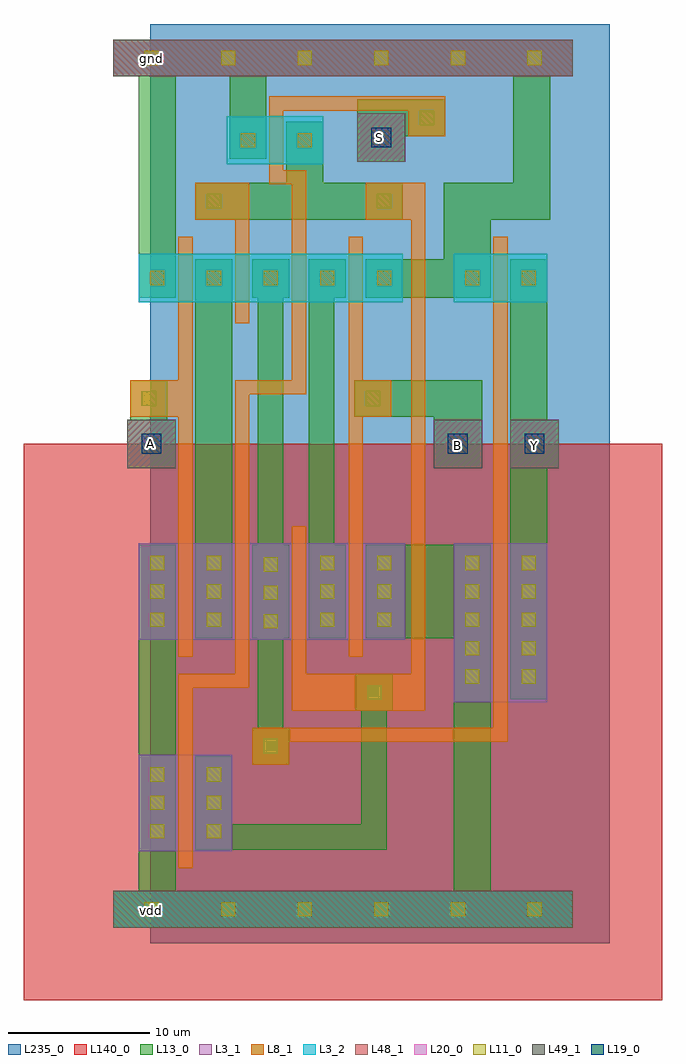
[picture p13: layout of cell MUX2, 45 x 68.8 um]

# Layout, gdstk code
import gdstk
lib = gdstk.Library(unit=1e-6, precision=1e-09)
def R(c, l, rs):  # rectangles x0, y0, x1, y1
    for r in rs: c.add(gdstk.rectangle(r[:2], r[2:], *l))
def A(c, l, x, y, w, h, nx, ny, dx, dy):  # array of equal rectangles
    R(c, l, [(x+i*dx, y+j*dy, x+i*dx+w, y+j*dy+h) for i in range(nx) for j in range(ny)])
def P(c, l, *ps):  # polygons
    for p in ps: c.add(gdstk.Polygon(p, *l))
L3_1 = (3, 1)
L3_2 = (3, 2)
L8_1 = (8, 1)
L11_0 = (11, 0)
L13_0 = (13, 0)
L19_0 = (19, 0)
L20_0 = (20, 0)
L48_1 = (48, 1)
L49_1 = (49, 1)
L140_0 = (140, 0)
L235_0 = (235, 0)

mux2 = lib.new_cell('MUX2')
R(mux2, L3_1, [(1.8,-58.3,8.4,-51.5), (24,-47.8,30.6,-36.6), (1.8,-43.4,20.6,-36.6), (0,-3.7,32.4,-1.1)])
R(mux2, L3_2, [(0,-63.7,32.4,-61.1), (1.8,-19.6,20.4,-16.2), (24,-19.6,30.6,-16.2), (8,-9.9,14.8,-6.5)])
P(mux2, L8_1, [(8.6,-21.1),(8.6,-13.8),(5.8,-13.8),(5.8,-11.2),(9.6,-11.2),(9.6,-21.1)],
  [(4.6,-44.6),(4.6,-27.7),(1.2,-27.7),(1.2,-25.1),(4.6,-25.1),(4.6,-15),(5.6,-15),(5.6,-44.6)],
  [(16.6,-44.6),(16.6,-15),(17.6,-15),(17.6,-25.1),(19.6,-25.1),(19.6,-27.7),(17.6,-27.7),(17.6,-44.6)],
  [(12.6,-48.4),(12.6,-35.4),(13.6,-35.4),(13.6,-45.8),(21,-45.8),(21,-13.8),(17.8,-13.8),(17.8,-11.2),(22,-11.2),(22,-48.4)],
  [(9.8,-52.2),(9.8,-49.6),(26.8,-49.6),(26.8,-15),(27.8,-15),(27.8,-50.6),(12.4,-50.6),(12.4,-52.2)],
  [(4.6,-59.5),(4.6,-45.8),(8.6,-45.8),(8.6,-25.1),(12.6,-25.1),(12.6,-11.3),(11,-11.3),(11,-5.1),(23.4,-5.1),(23.4,-7.9),(20.8,-7.9),(20.8,-6.1),(12,-6.1),(12,-10.3),(13.6,-10.3),(13.6,-26.1),(9.6,-26.1),(9.6,-46.8),(5.6,-46.8),(5.6,-59.5)])
A(mux2, L11_0, 2.2, -62.9, 1, 1, 6, 2, 5.4, 60)
A(mux2, L11_0, 2.6, -57.4, 1, 1, 1, 3, 0, 2)
A(mux2, L11_0, 6.6, -57.4, 1, 1, 1, 3, 0, 2)
A(mux2, L11_0, 24.8, -46.5, 1, 1, 1, 5, 0, 2)
A(mux2, L11_0, 28.8, -46.5, 1, 1, 1, 5, 0, 2)
A(mux2, L11_0, 10.6, -42.6, 1, 1, 1, 3, 0, 2)
A(mux2, L11_0, 2.6, -42.5, 1, 1, 1, 3, 0, 2)
A(mux2, L11_0, 6.6, -42.5, 1, 1, 1, 3, 0, 2)
A(mux2, L11_0, 14.6, -42.5, 1, 1, 1, 3, 0, 2)
A(mux2, L11_0, 18.6, -42.5, 1, 1, 1, 3, 0, 2)
A(mux2, L11_0, 2.6, -18.4, 1, 1, 5, 1, 4, 0)
R(mux2, L11_0, [(10.6,-51.4,11.6,-50.4), (17.9,-47.6,18.9,-46.6), (2,-26.9,3,-25.9), (17.8,-26.9,18.8,-25.9), (24.8,-18.4,25.8,-17.4), (28.8,-18.4,29.8,-17.4), (6.6,-13,7.6,-12), (18.6,-13,19.6,-12), (9,-8.7,10,-7.7), (13,-8.7,14,-7.7), (21.6,-7.1,22.6,-6.1)])
R(mux2, L13_0, [(0,-63.7,32.4,-61.1), (1.8,-61.1,4.4,-36.7), (5.8,-43.3,8.4,-16.6), (1.8,-19.3,4.4,-3.7), (8.2,-9.5,10.8,-3.7), (0,-3.7,32.4,-1.1)])
P(mux2, L13_0, [(17.2,-9.7),(17.2,-5.3),(23.4,-5.3),(23.4,-7.9),(20.6,-7.9),(20.6,-9.7)],
  [(5.8,-13.8),(5.8,-11.2),(12.2,-11.2),(12.2,-6.9),(14.8,-6.9),(14.8,-11.2),(20.4,-11.2),(20.4,-13.8)],
  [(17.8,-19.3),(17.8,-16.6),(23.3,-16.6),(23.3,-11.2),(28.2,-11.2),(28.2,-3.7),(30.8,-3.7),(30.8,-13.8),(26.6,-13.8),(26.6,-19.3)],
  [(1,-31.3),(1,-27.9),(1.2,-27.9),(1.2,-25.1),(3.8,-25.1),(3.8,-27.9),(4.4,-27.9),(4.4,-31.3)],
  [(22.6,-31.3),(22.6,-27.7),(17,-27.7),(17,-25.1),(26,-25.1),(26,-31.3)],
  [(13.8,-43.3),(13.8,-16.6),(16.4,-16.6),(16.4,-19.3),(15.6,-19.3),(15.6,-36.7),(16.4,-36.7),(16.4,-43.3)],
  [(28,-47.6),(28,-16.6),(30.6,-16.6),(30.6,-27.9),(31.4,-27.9),(31.4,-31.3),(30.6,-31.3),(30.6,-47.6)],
  [(9.8,-52.2),(9.8,-49.6),(10.2,-49.6),(10.2,-43.3),(9.8,-43.3),(9.8,-36.7),(10.2,-36.7),(10.2,-19.3),(9.8,-19.3),(9.8,-16.6),(12.4,-16.6),(12.4,-19.3),(12,-19.3),(12,-36.7),(12.4,-36.7),(12.4,-43.3),(12,-43.3),(12,-49.6),(12.4,-49.6),(12.4,-52.2)],
  [(5.8,-58.2),(5.8,-51.6),(8.4,-51.6),(8.4,-56.4),(17.5,-56.4),(17.5,-48.4),(17.1,-48.4),(17.1,-45.8),(19.7,-45.8),(19.7,-48.4),(19.3,-48.4),(19.3,-58.2)],
  [(24,-61.1),(24,-43.3),(17.8,-43.3),(17.8,-36.7),(26.6,-36.7),(26.6,-61.1)])
R(mux2, L19_0, [(2,-30.3,3.4,-28.9), (2,-30.3,3.4,-28.9), (2,-30.3,3.4,-28.9), (23.6,-30.3,25,-28.9), (23.6,-30.3,25,-28.9), (23.6,-30.3,25,-28.9), (23.6,-30.3,25,-28.9), (29,-30.3,30.4,-28.9), (29,-30.3,30.4,-28.9), (29,-30.3,30.4,-28.9), (29,-30.3,30.4,-28.9), (18.2,-8.7,19.6,-7.3)])
R(mux2, L20_0, [(1,-31.3,4.4,-27.9), (1,-31.3,4.4,-27.9), (1,-31.3,4.4,-27.9), (22.6,-31.3,26,-27.9), (22.6,-31.3,26,-27.9), (22.6,-31.3,26,-27.9), (22.6,-31.3,26,-27.9), (28,-31.3,31.4,-27.9), (28,-31.3,31.4,-27.9), (28,-31.3,31.4,-27.9), (28,-31.3,31.4,-27.9), (17.2,-9.7,20.6,-6.3)])
R(mux2, L48_1, [(0,-63.7,32.4,-61.1), (0,-3.7,32.4,-1.1)])
R(mux2, L49_1, [(1,-31.3,4.4,-27.9), (22.6,-31.3,26,-27.9), (28,-31.3,31.4,-27.9), (17.2,-9.7,20.6,-6.3)])
R(mux2, L140_0, [(-6.3,-68.8,38.7,-29.6)])
R(mux2, L235_0, [(2.6,-64.8,35,0)])
mux2.add(gdstk.Label('gnd', (2.7,-2.4), layer=48, texttype=0))
mux2.add(gdstk.Label('vdd', (2.7,-62.5), layer=48, texttype=0))
mux2.add(gdstk.Label('A', (2.6,-29.6), layer=49, texttype=0))
mux2.add(gdstk.Label('B', (24.3,-29.7), layer=49, texttype=0))
mux2.add(gdstk.Label('Y', (29.7,-29.7), layer=49, texttype=0))
mux2.add(gdstk.Label('S', (18.8,-8), layer=49, texttype=0))

lib.write_gds('MUX2.gds')
